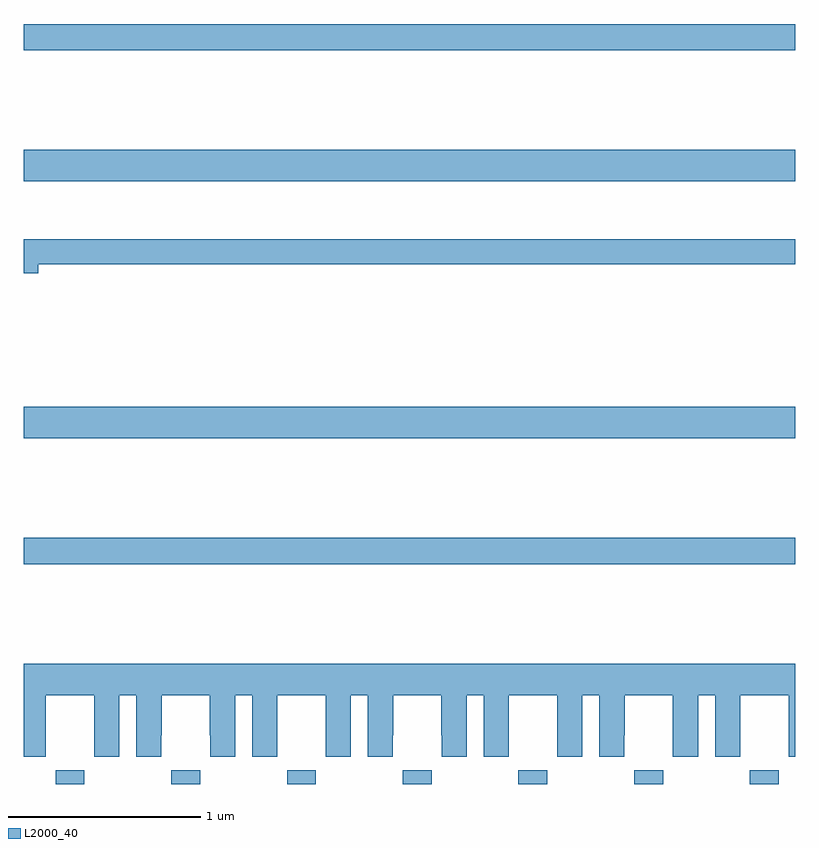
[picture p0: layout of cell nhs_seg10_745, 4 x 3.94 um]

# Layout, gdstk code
import gdstk
lib = gdstk.Library(unit=1e-6, precision=1e-09)
def R(c, l, rs):  # rectangles x0, y0, x1, y1
    for r in rs: c.add(gdstk.rectangle(r[:2], r[2:], *l))
def A(c, l, x, y, w, h, nx, ny, dx, dy):  # array of equal rectangles
    R(c, l, [(x+i*dx, y+j*dy, x+i*dx+w, y+j*dy+h) for i in range(nx) for j in range(ny)])
def P(c, l, *ps):  # polygons
    for p in ps: c.add(gdstk.Polygon(p, *l))
L2000_40 = (2000, 40)

nhs_seg10_745 = lib.new_cell('nhs_seg10_745')
A(nhs_seg10_745, L2000_40, 147.165, 1322.5, 0.15, 0.072, 7, 1, 0.6, 0)
R(nhs_seg10_745, L2000_40, [(147,1323.64,151,1323.776), (147,1324.292,151,1324.456), (147,1325.624,151,1325.788), (147,1326.304,151,1326.44)])
P(nhs_seg10_745, L2000_40, [(147.076,1325.194),(151,1325.194),(151,1325.323),(147,1325.323),(147,1325.147),(147.076,1325.147)],
  [(147.114,1322.752),(147.115,1322.752),(147.115,1322.96),(147.365,1322.96),(147.365,1322.752),(147.366,1322.752),(147.366,1322.64),(147.496,1322.64),(147.496,1322.96),(147.584,1322.96),(147.584,1322.64),(147.714,1322.64),(147.714,1322.752),(147.715,1322.752),(147.715,1322.96),(147.965,1322.96),(147.965,1322.752),(147.966,1322.752),(147.966,1322.64),(148.096,1322.64),(148.096,1322.96),(148.184,1322.96),(148.184,1322.64),(148.314,1322.64),(148.314,1322.752),(148.315,1322.752),(148.315,1322.96),(148.565,1322.96),(148.565,1322.752),(148.566,1322.752),(148.566,1322.64),(148.696,1322.64),(148.696,1322.96),(148.784,1322.96),(148.784,1322.64),(148.914,1322.64),(148.914,1322.752),(148.915,1322.752),(148.915,1322.96),(149.165,1322.96),(149.165,1322.752),(149.166,1322.752),(149.166,1322.64),(149.296,1322.64),(149.296,1322.96),(149.384,1322.96),(149.384,1322.64),(149.514,1322.64),(149.514,1322.752),(149.515,1322.752),(149.515,1322.96),(149.765,1322.96),(149.765,1322.752),(149.766,1322.752),(149.766,1322.64),(149.896,1322.64),(149.896,1322.96),(149.984,1322.96),(149.984,1322.64),(150.114,1322.64),(150.114,1322.752),(150.115,1322.752),(150.115,1322.96),(150.365,1322.96),(150.365,1322.752),(150.366,1322.752),(150.366,1322.64),(150.496,1322.64),(150.496,1322.96),(150.584,1322.96),(150.584,1322.64),(150.714,1322.64),(150.714,1322.752),(150.715,1322.752),(150.715,1322.96),(150.965,1322.96),(150.965,1322.752),(150.966,1322.752),(150.966,1322.64),(151,1322.64),(151,1323.124),(147,1323.124),(147,1322.64),(147.114,1322.64)])

lib.write_gds('nhs_seg10_745.gds')
